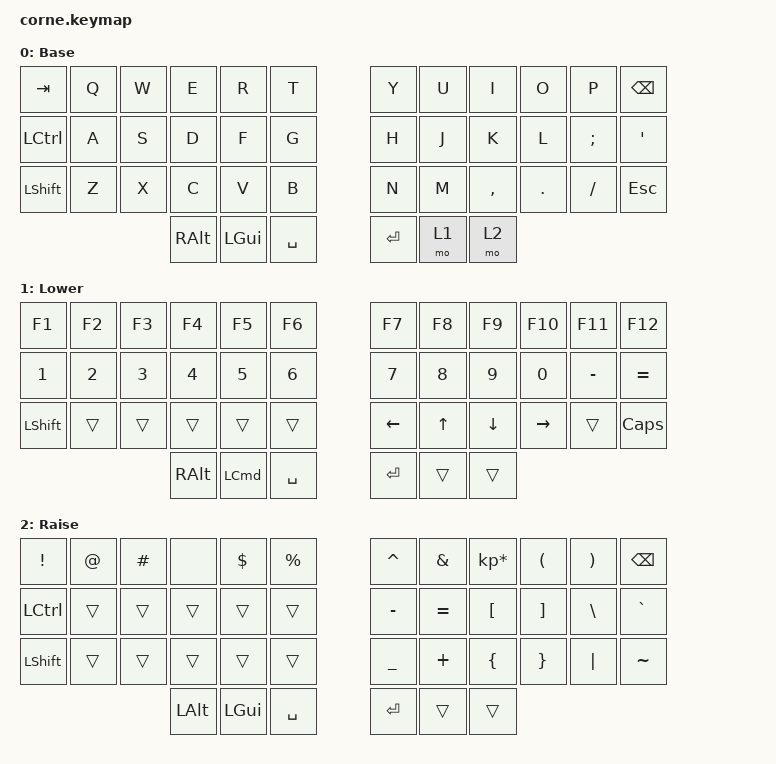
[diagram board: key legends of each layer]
/*
 * Copyright (c) 2020 The ZMK Contributors
 *
 * SPDX-License-Identifier: MIT
 */

#include <behaviors.dtsi>
#include <dt-bindings/zmk/keys.h>

/ {
    keymap {
        compatible = "zmk,keymap";

        default_layer {
            // -----------------------------------------------------------------------------------------
            // |  TAB |  Q  |  W  |  E  |  R  |  T  |   |  Y  |  U   |  I  |  O  |  P  | BKSP |
            // | CTRL |  A  |  S  |  D  |  F  |  G  |   |  H  |  J   |  K  |  L  |  ;  |  '   |
            // | SHFT |  Z  |  X  |  C  |  V  |  B  |   |  N  |  M   |  ,  |  .  |  /  | ESC  |
            //                    | GUI | LWR | SPC |   | ENT | RSE  | ALT |

            display-name = "Base";
            bindings = <
&kp TAB    &kp Q  &kp W  &kp E     &kp R         &kp T        &kp Y    &kp U  &kp I      &kp O    &kp P     &kp BSPC
&kp LCTRL  &kp A  &kp S  &kp D     &kp F         &kp G        &kp H    &kp J  &kp K      &kp L    &kp SEMI  &kp SQT
&kp LSHFT  &kp Z  &kp X  &kp C     &kp V         &kp B        &kp N    &kp M  &kp COMMA  &kp DOT  &kp FSLH  &kp ESC
                         &kp RALT  &kp LEFT_GUI  &kp SPACE    &kp RET  &mo 1  &mo 2
            >;
        };

        lower_layer {
            // -----------------------------------------------------------------------------------------
            // |  TAB |  1  |  2  |  3  |  4  |  5  |   |  6  |  7  |  8  |  9  |  0  | BKSP |
            // | BTCLR| BT1 | BT2 | BT3 | BT4 | BT5 |   | LFT | DWN |  UP | RGT |     |      |
            // | SHFT |     |     |     |     |     |   |     |     |     |     |     |      |
            //                    | GUI |     | SPC |   | ENT |     | ALT |

            display-name = "Lower";
            bindings = <
&kp F1     &kp F2  &kp F3  &kp F4    &kp F5            &kp F6       &kp F7          &kp F8        &kp F9          &kp F10          &kp F11    &kp F12
&kp N1     &kp N2  &kp N3  &kp N4    &kp N5            &kp N6       &kp N7          &kp N8        &kp N9          &kp N0           &kp MINUS  &kp EQUAL
&kp LSHFT  &trans  &trans  &trans    &trans            &trans       &kp LEFT_ARROW  &kp UP_ARROW  &kp DOWN_ARROW  &kp RIGHT_ARROW  &trans     &kp CAPS
                           &kp RALT  &kp LEFT_COMMAND  &kp SPACE    &kp RET         &trans        &trans
            >;
        };

        raise_layer {
            // -----------------------------------------------------------------------------------------
            // |  TAB |  !  |  @  |  #  |  $  |  %  |   |  ^  |  &  |  *  |  (  |  )  | BKSP |
            // | CTRL |     |     |     |     |     |   |  -  |  =  |  [  |  ]  |  \  |  `   |
            // | SHFT |     |     |     |     |     |   |  _  |  +  |  {  |  }  | "|" |  ~   |
            //                    | GUI |     | SPC |   | ENT |     | ALT |

            display-name = "Raise";
            bindings = <
&kp EXCL   &kp AT  &kp HASH  &none     &kp DLLR  &kp PRCNT    &kp CARET  &kp AMPS   &kp KP_MULTIPLY  &kp LPAR  &kp RPAR  &kp BSPC
&kp LCTRL  &trans  &trans    &trans    &trans    &trans       &kp MINUS  &kp EQUAL  &kp LBKT         &kp RBKT  &kp BSLH  &kp GRAVE
&kp LSHFT  &trans  &trans    &trans    &trans    &trans       &kp UNDER  &kp PLUS   &kp LBRC         &kp RBRC  &kp PIPE  &kp TILDE
                             &kp LALT  &kp LGUI  &kp SPACE    &kp RET    &trans     &trans
            >;
        };

        extra_1 { status = "reserved"; };

        extra_2 { status = "reserved"; };

        extra_3 { status = "reserved"; };
    };
};
